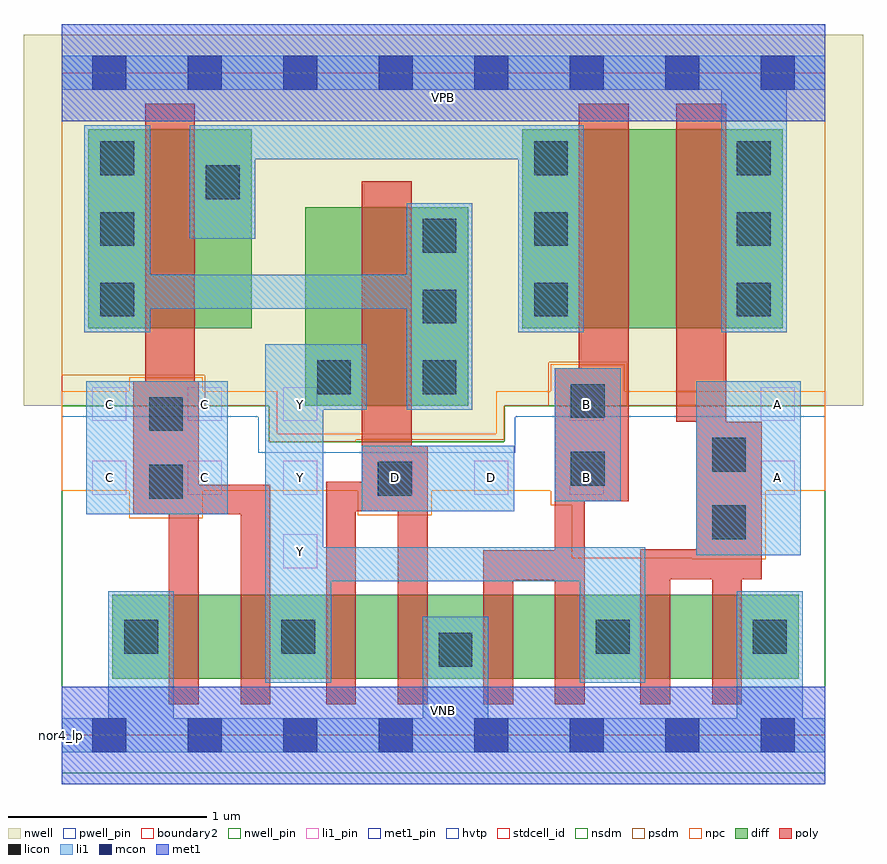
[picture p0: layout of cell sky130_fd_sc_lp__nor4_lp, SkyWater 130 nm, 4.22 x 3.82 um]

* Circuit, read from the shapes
.subckt sky130_fd_sc_lp__nor4_lp A B C D VGND VNB VPB VPWR Y
XM1 n1 C VGND VNB sky130_fd_pr__nfet_01v8 w=0.42 l=0.15
XM2 Y C n1 VNB sky130_fd_pr__nfet_01v8 w=0.42 l=0.15
XM3 n2 D Y VNB sky130_fd_pr__nfet_01v8 w=0.42 l=0.15
XM4 VGND D n2 VNB sky130_fd_pr__nfet_01v8 w=0.42 l=0.15
XM5 n3 B VGND VNB sky130_fd_pr__nfet_01v8 w=0.42 l=0.15
XM6 Y B n3 VNB sky130_fd_pr__nfet_01v8 w=0.42 l=0.15
XM7 n4 A Y VNB sky130_fd_pr__nfet_01v8 w=0.42 l=0.15
XM8 VGND A n4 VNB sky130_fd_pr__nfet_01v8 w=0.42 l=0.15
XM9 n5 C n6 VPB sky130_fd_pr__pfet_01v8_hvt w=1 l=0.25
XM10 n6 D Y VPB sky130_fd_pr__pfet_01v8_hvt w=1 l=0.25
XM11 n7 B n5 VPB sky130_fd_pr__pfet_01v8_hvt w=1 l=0.25
XM12 VPWR A n7 VPB sky130_fd_pr__pfet_01v8_hvt w=1 l=0.25
.ends

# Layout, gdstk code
import gdstk
lib = gdstk.Library(unit=1e-6, precision=1e-09)
def R(c, l, rs):  # rectangles x0, y0, x1, y1
    for r in rs: c.add(gdstk.rectangle(r[:2], r[2:], *l))
def A(c, l, x, y, w, h, nx, ny, dx, dy):  # array of equal rectangles
    R(c, l, [(x+i*dx, y+j*dy, x+i*dx+w, y+j*dy+h) for i in range(nx) for j in range(ny)])
def P(c, l, *ps):  # polygons
    for p in ps: c.add(gdstk.Polygon(p, *l))
nwell_pin = (64, 16)
nwell = (64, 20)
diff = (65, 20)
poly = (66, 20)
licon = (66, 44)
li1_pin = (67, 16)
li1 = (67, 20)
mcon = (67, 44)
met1_pin = (68, 16)
met1 = (68, 20)
hvtp = (78, 44)
stdcell_id = (81, 4)
nsdm = (93, 44)
psdm = (94, 20)
npc = (95, 20)
pwell_pin = (122, 16)
boundary2 = (236, 0)

sky130_fd_sc_lp__nor4_lp = lib.new_cell('sky130_fd_sc_lp__nor4_lp')
R(sky130_fd_sc_lp__nor4_lp, nwell_pin, [(0,3.085,3.84,3.33)])
P(sky130_fd_sc_lp__nor4_lp, nwell, [(4.03,3.52),(-0.19,3.52),(-0.19,1.655),(1.045,1.655),(1.045,1.475),(2.225,1.475),(2.225,1.655),(4.03,1.655)])
R(sky130_fd_sc_lp__nor4_lp, diff, [(0.255,0.285,3.705,0.705), (1.225,1.655,2.045,2.655), (0.135,2.045,0.955,3.045), (2.315,2.045,3.625,3.045)])
P(sky130_fd_sc_lp__nor4_lp, poly, [(1.05,1.26),(0.69,1.26),(0.69,1.78),(0.67,1.78),(0.67,3.175),(0.42,3.175),(0.42,1.78),(0.36,1.78),(0.36,1.11),(0.54,1.11),(0.54,0.155),(0.69,0.155),(0.69,1.11),(0.9,1.11),(0.9,0.155),(1.05,0.155)],
  [(1.84,1.455),(1.76,1.455),(1.76,2.785),(1.51,2.785),(1.51,1.275),(1.33,1.275),(1.33,0.155),(1.48,0.155),(1.48,1.125),(1.69,1.125),(1.69,0.155),(1.84,0.155)],
  [(2.85,3.175),(2.6,3.175),(2.6,1.845),(2.48,1.845),(2.48,0.93),(2.12,0.93),(2.12,0.155),(2.27,0.155),(2.27,0.78),(2.48,0.78),(2.48,0.155),(2.63,0.155),(2.63,1.175),(2.85,1.175)],
  [(3.52,1.575),(3.34,1.575),(3.34,3.175),(3.09,3.175),(3.09,1.575),(3.19,1.575),(3.19,0.935),(2.91,0.935),(2.91,0.155),(3.06,0.155),(3.06,0.785),(3.27,0.785),(3.27,0.155),(3.42,0.155),(3.42,0.785),(3.52,0.785)])
A(sky130_fd_sc_lp__nor4_lp, licon, 1.815, 1.715, 0.17, 0.17, 1, 3, 0, 0.355)
A(sky130_fd_sc_lp__nor4_lp, licon, 0.195, 2.105, 0.17, 0.17, 1, 3, 0, 0.355)
A(sky130_fd_sc_lp__nor4_lp, licon, 2.375, 2.105, 0.17, 0.17, 1, 3, 0, 0.355)
A(sky130_fd_sc_lp__nor4_lp, licon, 3.395, 2.105, 0.17, 0.17, 1, 3, 0, 0.355)
R(sky130_fd_sc_lp__nor4_lp, licon, [(1.895,0.345,2.065,0.515), (0.315,0.41,0.485,0.58), (1.105,0.41,1.275,0.58), (2.685,0.41,2.855,0.58), (3.475,0.41,3.645,0.58), (3.27,0.985,3.44,1.155), (0.44,1.19,0.61,1.36), (1.59,1.205,1.76,1.375), (2.56,1.255,2.73,1.425), (3.27,1.325,3.44,1.495), (0.44,1.53,0.61,1.7), (2.56,1.595,2.73,1.765), (1.285,1.715,1.455,1.885), (0.725,2.695,0.895,2.865)])
A(sky130_fd_sc_lp__nor4_lp, li1_pin, 0.155, 1.21, 0.17, 0.17, 6, 1, 0.48, 0)
A(sky130_fd_sc_lp__nor4_lp, li1_pin, 0.155, 1.58, 0.17, 0.17, 3, 1, 0.48, 0)
R(sky130_fd_sc_lp__nor4_lp, li1_pin, [(1.115,0.84,1.285,1.01), (3.515,1.21,3.685,1.38), (2.555,1.58,2.725,1.75), (3.515,1.58,3.685,1.75)])
R(sky130_fd_sc_lp__nor4_lp, li1, [(3.19,0.905,3.715,1.78), (0.125,1.11,0.835,1.78), (1.51,1.125,2.275,1.455), (2.48,1.175,2.81,1.845)])
P(sky130_fd_sc_lp__nor4_lp, li1, [(3.315,2.025),(3.315,3.245),(0,3.245),(0,3.415),(3.84,3.415),(3.84,3.245),(3.645,3.245),(3.645,2.025)],
  [(0.235,0.085),(0.235,0.725),(0.565,0.725),(0.565,0.085),(1.815,0.085),(1.815,0.595),(2.145,0.595),(2.145,0.085),(3.395,0.085),(3.395,0.725),(3.725,0.725),(3.725,0.085),(3.84,0.085),(3.84,-0.085),(0,-0.085),(0,0.085)],
  [(1.735,1.635),(1.735,2.145),(0.445,2.145),(0.445,2.025),(0.115,2.025),(0.115,3.065),(0.445,3.065),(0.445,2.315),(1.735,2.315),(1.735,2.675),(2.065,2.675),(2.065,1.635)],
  [(1.025,1.965),(1.535,1.965),(1.535,1.635),(1.315,1.635),(1.315,0.945),(2.935,0.945),(2.935,0.265),(2.605,0.265),(2.605,0.775),(1.355,0.775),(1.355,0.265),(1.025,0.265)],
  [(2.295,2.025),(2.295,2.895),(0.975,2.895),(0.975,2.495),(0.645,2.495),(0.645,3.065),(2.625,3.065),(2.625,2.025)])
A(sky130_fd_sc_lp__nor4_lp, mcon, 0.155, -0.085, 0.17, 0.17, 8, 2, 0.48, 3.33)
R(sky130_fd_sc_lp__nor4_lp, met1_pin, [(0,0,3.84,0.245), (0,3.085,3.84,3.33)])
R(sky130_fd_sc_lp__nor4_lp, met1, [(0,-0.245,3.84,0.245), (0,3.085,3.84,3.575)])
P(sky130_fd_sc_lp__nor4_lp, hvtp, [(3.84,3.33),(0,3.33),(0,1.6),(0.99,1.6),(0.99,1.42),(2.28,1.42),(2.28,1.6),(3.84,1.6)])
R(sky130_fd_sc_lp__nor4_lp, stdcell_id, [(0,0,3.84,3.33)])
P(sky130_fd_sc_lp__nor4_lp, nsdm, [(3.84,1.655),(2.225,1.655),(2.225,1.475),(1.045,1.475),(1.045,1.655),(0,1.655),(0,-0.19),(3.84,-0.19)])
P(sky130_fd_sc_lp__nor4_lp, psdm, [(3.84,3.52),(0,3.52),(0,1.81),(0.72,1.81),(0.72,1.655),(1.045,1.655),(1.045,1.475),(1.48,1.475),(1.48,1.485),(2.225,1.485),(2.225,1.655),(2.45,1.655),(2.45,1.875),(2.84,1.875),(2.84,1.655),(3.84,1.655)])
P(sky130_fd_sc_lp__nor4_lp, npc, [(3.84,1.73),(2.83,1.73),(2.83,1.865),(2.46,1.865),(2.46,1.73),(2.185,1.73),(2.185,1.515),(1.085,1.515),(1.085,1.73),(0.71,1.73),(0.71,1.8),(0.34,1.8),(0.34,1.73),(0,1.73),(0,1.23),(0.34,1.23),(0.34,1.09),(0.71,1.09),(0.71,1.23),(1.49,1.23),(1.49,1.105),(1.86,1.105),(1.86,1.23),(2.46,1.23),(2.46,1.155),(2.565,1.155),(2.565,0.89),(3.17,0.89),(3.17,0.885),(3.54,0.885),(3.54,1.23),(3.84,1.23)])
R(sky130_fd_sc_lp__nor4_lp, pwell_pin, [(0,0,3.84,0.245)])
R(sky130_fd_sc_lp__nor4_lp, boundary2, [(0,0,3.84,3.33)])
sky130_fd_sc_lp__nor4_lp.add(gdstk.Label('VNB', (1.92,0.123), layer=64, texttype=59))
sky130_fd_sc_lp__nor4_lp.add(gdstk.Label('VPB', (1.92,3.208), layer=64, texttype=5))
sky130_fd_sc_lp__nor4_lp.add(gdstk.Label('nor4_lp', (0,0), layer=83, texttype=44))
sky130_fd_sc_lp__nor4_lp.add(gdstk.Label('VPWR', (1.92,3.208), layer=68, texttype=5))
sky130_fd_sc_lp__nor4_lp.add(gdstk.Label('VGND', (1.92,0.123), layer=68, texttype=5))
sky130_fd_sc_lp__nor4_lp.add(gdstk.Label('D', (1.68,1.295), layer=67, texttype=5))
sky130_fd_sc_lp__nor4_lp.add(gdstk.Label('D', (2.16,1.295), layer=67, texttype=5))
sky130_fd_sc_lp__nor4_lp.add(gdstk.Label('C', (0.24,1.295), layer=67, texttype=5))
sky130_fd_sc_lp__nor4_lp.add(gdstk.Label('C', (0.24,1.665), layer=67, texttype=5))
sky130_fd_sc_lp__nor4_lp.add(gdstk.Label('C', (0.72,1.295), layer=67, texttype=5))
sky130_fd_sc_lp__nor4_lp.add(gdstk.Label('C', (0.72,1.665), layer=67, texttype=5))
sky130_fd_sc_lp__nor4_lp.add(gdstk.Label('B', (2.64,1.295), layer=67, texttype=5))
sky130_fd_sc_lp__nor4_lp.add(gdstk.Label('B', (2.64,1.665), layer=67, texttype=5))
sky130_fd_sc_lp__nor4_lp.add(gdstk.Label('A', (3.6,1.295), layer=67, texttype=5))
sky130_fd_sc_lp__nor4_lp.add(gdstk.Label('A', (3.6,1.665), layer=67, texttype=5))
sky130_fd_sc_lp__nor4_lp.add(gdstk.Label('Y', (1.2,0.925), layer=67, texttype=5))
sky130_fd_sc_lp__nor4_lp.add(gdstk.Label('Y', (1.2,1.295), layer=67, texttype=5))
sky130_fd_sc_lp__nor4_lp.add(gdstk.Label('Y', (1.2,1.665), layer=67, texttype=5))

lib.write_gds('sky130_fd_sc_lp__nor4_lp.gds')
